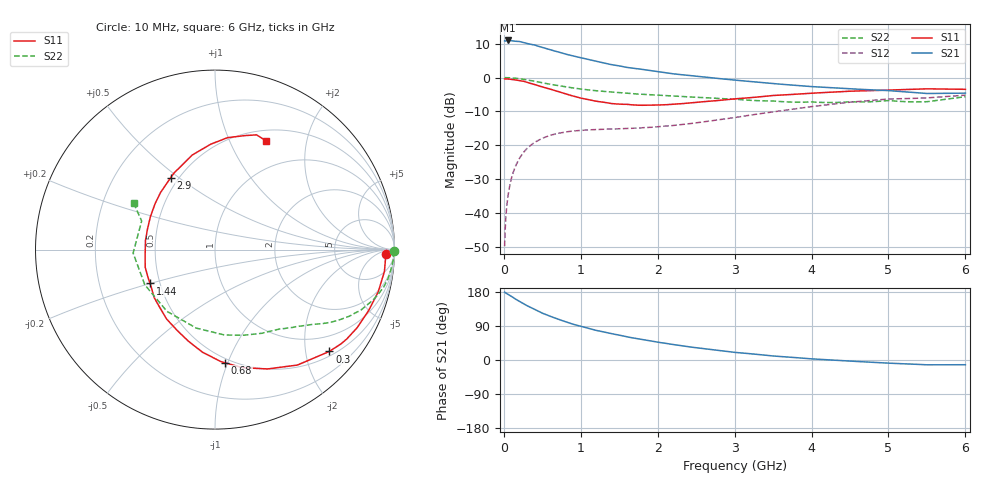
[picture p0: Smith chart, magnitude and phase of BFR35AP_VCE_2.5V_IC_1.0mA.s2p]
! Infineon Technologies  Discrete & RF Semiconductors
! BFR35AP
! VCE =  2.5 V,  IC =  1.0 mA
! Common Emitter S-Parameters:  Nov 2015
# GHz  S  MA  R  50
!  f  S11  S21  S12  S22
! GHz  MAG  ANG  MAG  ANG  MAG  ANG  MAG  ANG
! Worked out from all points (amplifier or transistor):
!   210 points, 10 MHz to 6 GHz, reference 50 ohm
!   highest |S21| = 11.0 dB at 50 MHz (marker M1)
!   |S21| within 3 dB of that: start of sweep to 641.4 MHz
!   unconditionally stable (mu >= 1): 1.403 GHz to end of sweep
!   at 185 MHz: K = 0.16, MSG = 17.7 dB, |S12| = -24.7 dB
!   at 1.52 GHz: K = 1.05, MAG = 7.8 dB, |S12| = -15.2 dB
!   at 6 GHz: K = 1.05, MAG = -1.0 dB, |S12| = -5.2 dB
!   S11 on the Smith chart (normalised r, x): 10 MHz: 32, -18; 300 MHz: 0.60, -2.50; 680 MHz: 0.46, -0.98; 1.44 GHz: 0.44, -0.20; 2.9 GHz: 0.45, +0.47; 6 GHz: 0.63, +1.38
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0.01  0.9537 -1.5  3.487 179.1  0.0032 90.9  0.9991 -0.6
0.015  0.9525 -2.1  3.471 178.3  0.0049 87.7  0.9963 -0.9
0.025  0.9511 -3.5  3.468 176.9  0.0082 85.8  0.9937 -1.5
0.05  0.9519 -7.3  3.532 173.9  0.0164 85.1  0.9951 -3.2
0.085  0.9416 -12.3  3.51 169.7  0.0279 81.6  0.9891 -5.4
0.14  0.9235 -20.2  3.446 162.3  0.0452 77.0  0.9789 -9.0
0.2  0.9039 -28.7  3.415 155.1  0.0629 72.1  0.9631 -12.5
0.3  0.8531 -41.7  3.191 143.5  0.089 64.6  0.9233 -17.8
0.4  0.7902 -54.5  3.027 133.6  0.1099 57.5  0.8811 -22.4
0.5  0.7267 -66.2  2.788 123.6  0.1262 51.6  0.835 -26.4
0.68  0.6332 -84.9  2.435 109.5  0.1471 43.6  0.7684 -31.6
0.86  0.5478 -102.2  2.137 97.1  0.1596 38.1  0.711 -35.6
1.02  0.4904 -117.1  1.939 87.6  0.1654 34.6  0.6713 -38.7
1.2  0.4462 -133.5  1.741 78.2  0.1698 32.1  0.6375 -42.0
1.44  0.4081 -152.5  1.524 67.9  0.1735 30.9  0.6054 -45.9
1.7  0.3919 -173.8  1.369 57.5  0.1774 32.0  0.573 -50.4
2.02  0.3924 164.5  1.21 46.4  0.1881 34.5  0.5466 -56.4
2.9  0.47 121.8  0.94 22.7  0.2466 40.1  0.483 -80.3
3.1  0.4921 115.2  0.894 18.5  0.2664 39.8  0.4682 -87.5
4.1  0.5943 90.6  0.723 1.9  0.3827 32.6  0.4293 -132.9
5.1  0.6567 75.3  0.628 -9.1  0.4833 17.7  0.4469 177.9
6  0.669 64.7  0.587 -12.5  0.5481 6.0  0.5202 150.4
